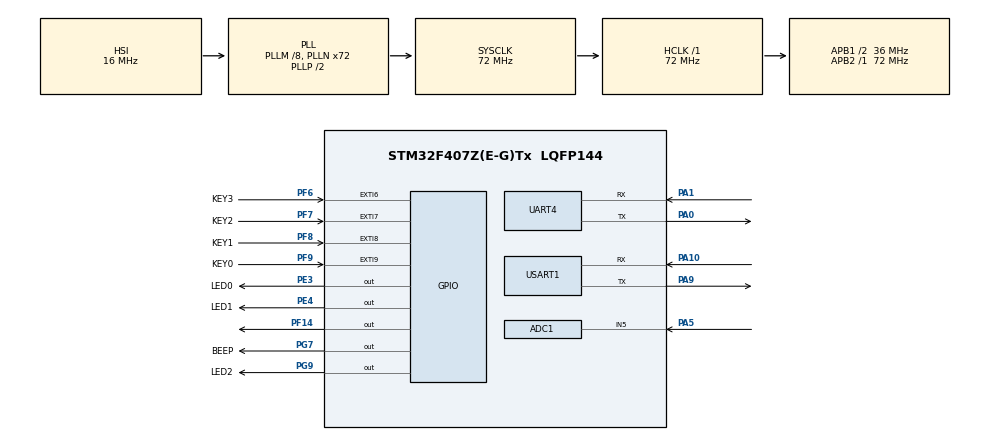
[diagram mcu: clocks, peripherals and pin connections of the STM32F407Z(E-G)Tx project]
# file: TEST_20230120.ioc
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ADC1.Channel-0\#ChannelRegularConversion=ADC_CHANNEL_5
ADC1.NbrOfConversionFlag=1
ADC1.Rank-0\#ChannelRegularConversion=1
ADC1.SamplingTime-0\#ChannelRegularConversion=ADC_SAMPLETIME_3CYCLES
ADC1.master=1
FREERTOS.Tasks01=myTask01,0,128,StartTask01,Default,NULL,Dynamic,NULL,NULL;myTask02,-3,128,StartTask02,Default,NULL,Dynamic,NULL,NULL;myTask03,-3,128,StartTask03,Default,NULL,Dynamic,NULL,NULL;myTask04,-3,128,StartTask04,Default,NULL,Dynamic,NULL,NULL;myTask05,-3,128,StartTask05,Default,NULL,Dynamic,NULL,NULL
Mcu.Family=STM32F4
Mcu.Name=STM32F407Z(E-G)Tx
Mcu.Package=LQFP144
NVIC.EXTI9_5_IRQn=true\:5\:0\:false\:false\:true\:true\:true\:true\:true
NVIC.PriorityGroup=NVIC_PRIORITYGROUP_4
NVIC.UART4_IRQn=true\:5\:0\:false\:false\:true\:true\:true\:true\:true
PA0-WKUP.Mode=Asynchronous
PA0-WKUP.Signal=UART4_TX
PA1.Mode=Asynchronous
PA1.Signal=UART4_RX
PA10.Mode=Asynchronous
PA10.Signal=USART1_RX
PA5.Signal=ADCx_IN5
PA9.Mode=Asynchronous
PA9.Signal=USART1_TX
PE3.GPIO_Label=LED0
PE3.GPIO_PuPd=GPIO_PULLUP
PE3.PinState=GPIO_PIN_SET
PE3.Signal=GPIO_Output
PE4.GPIO_Label=LED1
PE4.GPIO_PuPd=GPIO_PULLUP
PE4.PinState=GPIO_PIN_SET
PE4.Signal=GPIO_Output
PF14.GPIO_PuPd=GPIO_PULLUP
PF14.PinState=GPIO_PIN_SET
PF14.Signal=GPIO_Output
PF6.GPIO_Label=KEY3
PF6.GPIO_PuPd=GPIO_PULLUP
PF6.Signal=GPXTI6
PF7.GPIO_Label=KEY2
PF7.GPIO_PuPd=GPIO_PULLUP
PF7.Signal=GPXTI7
PF8.GPIO_Label=KEY1
PF8.GPIO_PuPd=GPIO_PULLUP
PF8.Signal=GPXTI8
PF9.GPIO_Label=KEY0
PF9.GPIO_PuPd=GPIO_PULLUP
PF9.Signal=GPXTI9
PG7.GPIO_Label=BEEP
PG7.GPIO_PuPd=GPIO_PULLUP
PG7.PinState=GPIO_PIN_RESET
PG7.Signal=GPIO_Output
PG9.GPIO_Label=LED2
PG9.GPIO_PuPd=GPIO_PULLUP
PG9.PinState=GPIO_PIN_SET
PG9.Signal=GPIO_Output
PH0-OSC_IN.Mode=HSE-External-Oscillator
PH0-OSC_IN.Signal=RCC_OSC_IN
PH1-OSC_OUT.Mode=HSE-External-Oscillator
PH1-OSC_OUT.Signal=RCC_OSC_OUT
ProjectManager.HeapSize=0x200
ProjectManager.StackSize=0x400
ProjectManager.TargetToolchain=MDK-ARM V5.32
RCC.48MHZClocksFreq_Value=36000000
RCC.AHBFreq_Value=72000000
RCC.APB1CLKDivider=RCC_HCLK_DIV2
RCC.APB1Freq_Value=36000000
RCC.APB1TimFreq_Value=72000000
RCC.APB2Freq_Value=72000000
RCC.APB2TimFreq_Value=72000000
RCC.CortexFreq_Value=72000000
RCC.HCLKFreq_Value=72000000
RCC.HSE_VALUE=8000000
RCC.HSI_VALUE=16000000
RCC.LSE_VALUE=32768
RCC.PLLM=8
RCC.PLLN=72
RCC.SYSCLKFreq_VALUE=72000000
RCC.SYSCLKSource=RCC_SYSCLKSOURCE_PLLCLK
RCC.VCOOutputFreq_Value=144000000
SH.ADCx_IN5.0=ADC1_IN5,IN5
UART4.VirtualMode=Asynchronous
USART1.VirtualMode=VM_ASYNC
VP_FREERTOS_VS_CMSIS_V1.Mode=CMSIS_V1
VP_TIM6_VS_ClockSourceINT.Mode=Enable_Timer
board=custom

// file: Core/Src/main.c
/* USER CODE BEGIN Header */
/**
  ******************************************************************************
  * @file           : main.c
  * @brief          : Main program body
  ******************************************************************************
  * @attention
  *
  * Copyright (c) 2023 STMicroelectronics.
  * All rights reserved.
  *
  * This software is licensed under terms that can be found in the LICENSE file
  * in the root directory of this software component.
  * If no LICENSE file comes with this software, it is provided AS-IS.
  *
  ******************************************************************************
  */
/* USER CODE END Header */
#include "main.h"
#include "cmsis_os.h"
#include "adc.h"
#include "tim.h"
#include "usart.h"
#include "gpio.h"

/* USER CODE BEGIN Includes */
#include "ldh_headfile.h"
/* USER CODE END Includes */

void SystemClock_Config(void);
void MX_FREERTOS_Init(void);

int main(void)
{

  /* MCU Configuration--------------------------------------------------------*/

  /* Reset of all peripherals, Initializes the Flash interface and the Systick. */
  HAL_Init();

  /* Configure the system clock */
  SystemClock_Config();

  /* Initialize all configured peripherals */
  MX_GPIO_Init();
  MX_USART1_UART_Init();
  MX_ADC1_Init();
  MX_TIM6_Init();
  MX_UART4_Init();
  /* USER CODE BEGIN 2 */
  // while(wifi_config_client());
  /* USER CODE END 2 */

  /* Call init function for freertos objects (in freertos.c) */
  MX_FREERTOS_Init();

  /* Start scheduler */
  osKernelStart();

  /* We should never get here as control is now taken by the scheduler */
  /* Infinite loop */
  while (1)
  {

  }
}

void SystemClock_Config(void)
{
  RCC_OscInitTypeDef RCC_OscInitStruct = {0};
  RCC_ClkInitTypeDef RCC_ClkInitStruct = {0};

  /** Configure the main internal regulator output voltage
  */
  __HAL_RCC_PWR_CLK_ENABLE();
  __HAL_PWR_VOLTAGESCALING_CONFIG(PWR_REGULATOR_VOLTAGE_SCALE1);

  /** Initializes the RCC Oscillators according to the specified parameters
  * in the RCC_OscInitTypeDef structure.
  */
  RCC_OscInitStruct.OscillatorType = RCC_OSCILLATORTYPE_HSI;
  RCC_OscInitStruct.HSIState = RCC_HSI_ON;
  RCC_OscInitStruct.HSICalibrationValue = RCC_HSICALIBRATION_DEFAULT;
  RCC_OscInitStruct.PLL.PLLState = RCC_PLL_ON;
  RCC_OscInitStruct.PLL.PLLSource = RCC_PLLSOURCE_HSI;
  RCC_OscInitStruct.PLL.PLLM = 8;
  RCC_OscInitStruct.PLL.PLLN = 72;
  RCC_OscInitStruct.PLL.PLLP = RCC_PLLP_DIV2;
  RCC_OscInitStruct.PLL.PLLQ = 4;
  if (HAL_RCC_OscConfig(&RCC_OscInitStruct) != HAL_OK)
  {
    Error_Handler();
  }

  /** Initializes the CPU, AHB and APB buses clocks
  */
  RCC_ClkInitStruct.ClockType = RCC_CLOCKTYPE_HCLK|RCC_CLOCKTYPE_SYSCLK
                              |RCC_CLOCKTYPE_PCLK1|RCC_CLOCKTYPE_PCLK2;
  RCC_ClkInitStruct.SYSCLKSource = RCC_SYSCLKSOURCE_PLLCLK;
  RCC_ClkInitStruct.AHBCLKDivider = RCC_SYSCLK_DIV1;
  RCC_ClkInitStruct.APB1CLKDivider = RCC_HCLK_DIV2;
  RCC_ClkInitStruct.APB2CLKDivider = RCC_HCLK_DIV1;

  if (HAL_RCC_ClockConfig(&RCC_ClkInitStruct, FLASH_LATENCY_2) != HAL_OK)
  {
    Error_Handler();
  }
}

void Error_Handler(void)
{
  __disable_irq();
  while (1)
  {
  }
}

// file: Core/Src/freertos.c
/* USER CODE BEGIN Header */
/**
  ******************************************************************************
  * File Name          : freertos.c
  * Description        : Code for freertos applications
  ******************************************************************************
  * @attention
  *
  * Copyright (c) 2023 STMicroelectronics.
  * All rights reserved.
  *
  * This software is licensed under terms that can be found in the LICENSE file
  * in the root directory of this software component.
  * If no LICENSE file comes with this software, it is provided AS-IS.
  *
  ******************************************************************************
  */
/* USER CODE END Header */

#include "FreeRTOS.h"
#include "task.h"
#include "main.h"
#include "cmsis_os.h"

/* USER CODE BEGIN Includes */
#include "ldh_headfile.h"
#include "gpio.h"
/* USER CODE END Includes */

/* USER CODE BEGIN PTD */
#define LED0_ON() 	HAL_GPIO_WritePin(LED0_GPIO_Port, LED0_Pin, GPIO_PIN_RESET)
#define LED0_OFF() 	HAL_GPIO_WritePin(LED0_GPIO_Port, LED0_Pin, GPIO_PIN_SET)
/* USER CODE END PTD */

osThreadId myTask01Handle;
osThreadId myTask02Handle;
osThreadId myTask03Handle;
osThreadId myTask04Handle;
osThreadId myTask05Handle;

void StartTask01(void const * argument);
void StartTask02(void const * argument);
void StartTask03(void const * argument);
void StartTask04(void const * argument);
void StartTask05(void const * argument);

void MX_FREERTOS_Init(void); /* (MISRA C 2004 rule 8.1) */

/* GetIdleTaskMemory prototype (linked to static allocation support) */
void vApplicationGetIdleTaskMemory( StaticTask_t **ppxIdleTaskTCBBuffer, StackType_t **ppxIdleTaskStackBuffer, uint32_t *pulIdleTaskStackSize );

/* USER CODE BEGIN GET_IDLE_TASK_MEMORY */
static StaticTask_t xIdleTaskTCBBuffer;
static StackType_t xIdleStack[configMINIMAL_STACK_SIZE];

void vApplicationGetIdleTaskMemory( StaticTask_t **ppxIdleTaskTCBBuffer, StackType_t **ppxIdleTaskStackBuffer, uint32_t *pulIdleTaskStackSize )
{
  *ppxIdleTaskTCBBuffer = &xIdleTaskTCBBuffer;
  *ppxIdleTaskStackBuffer = &xIdleStack[0];
  *pulIdleTaskStackSize = configMINIMAL_STACK_SIZE;
  /* place for user code */
}
/* USER CODE END GET_IDLE_TASK_MEMORY */

void MX_FREERTOS_Init(void) {

  /* Create the thread(s) */
  /* definition and creation of myTask01 */
  osThreadDef(myTask01, StartTask01, osPriorityNormal, 0, 128);
  myTask01Handle = osThreadCreate(osThread(myTask01), NULL);

  /* definition and creation of myTask02 */
  osThreadDef(myTask02, StartTask02, osPriorityIdle, 0, 128);
  myTask02Handle = osThreadCreate(osThread(myTask02), NULL);

  /* definition and creation of myTask03 */
  osThreadDef(myTask03, StartTask03, osPriorityIdle, 0, 128);
  myTask03Handle = osThreadCreate(osThread(myTask03), NULL);

  /* definition and creation of myTask04 */
  osThreadDef(myTask04, StartTask04, osPriorityIdle, 0, 128);
  myTask04Handle = osThreadCreate(osThread(myTask04), NULL);

  /* definition and creation of myTask05 */
  osThreadDef(myTask05, StartTask05, osPriorityIdle, 0, 128);
  myTask05Handle = osThreadCreate(osThread(myTask05), NULL);

}

void StartTask01(void const * argument)
{
  /* USER CODE BEGIN StartTask01 */
	DHT11_Init();
  /* Infinite loop */
  for(;;)
  {
	  ldh_DHT11_Read(&ldh_temp,&ldh_hum);
	  osDelay(500);
  }
  /* USER CODE END StartTask01 */
}

void StartTask02(void const * argument)
{
  /* USER CODE BEGIN StartTask02 */
  /* Infinite loop */
  for(;;)
  {
//	ldh_distance = ldh_UltrasonicWave_Measure();
//	printf("超声波测距为：%.2f\n",ldh_distance);
	if(ldh_key == 1)
	{
		printf("正在采集！\n");
		printf("当前空气温度为：%.2lf, 空气湿度为：%.2lf\n",ldh_temp, ldh_hum);
		printf("当前光照强度为：%d\n",ldh_light);
		printf("%.1f %.1f %d\n",ldh_temp,ldh_hum,ldh_light);
	}
	else if(ldh_key == 2)
	{
		printf("停止采集！\n");
	}
	else if(ldh_key == 0 || ldh_key == 3)
		printf("按键错误！\n");
    osDelay(200);
  }
  /* USER CODE END StartTask02 */
}

void StartTask03(void const * argument)
{
  /* USER CODE BEGIN StartTask03 */
  /* Infinite loop */
  for(;;)
  {
	  ldh_light = get_light();

      osDelay(200);
  }
  /* USER CODE END StartTask03 */
}

void StartTask04(void const * argument)
{
  /* USER CODE BEGIN StartTask04 */
	int i=0;
	char hum_ch[10];
	char temp_ch[10];
	char dist_ch[10];
	char light_ch[10];
  /* Infinite loop */
  for(;;)
  {
//	    sprintf(hum_ch,  "%f",ldh_hum);
//	    sprintf(temp_ch, "%f",ldh_temp);
//	    sprintf(dist_ch, "%f",ldh_distance);
//	    sprintf(light_ch,"%d",ldh_light);
//	    open_display();
//		if(i==0)
//		{
//			set_number_ch(0,hum_ch[0],hum_ch[1]);
//			i++;
//		}
//		else if(i==1)
//		{
//			set_number_ch(1,temp_ch[0],temp_ch[1]);
//			i++;
//		}
//		else if(i==2)
//		{
//			set_number_ch(2,dist_ch[0],dist_ch[1]);
//			i++;
//		}
//		else if(i==3)
//		{
//			set_number_ch(3,light_ch[0],light_ch[1]);
//			i=0;
//		}
	  osDelay(1500);
  }
  /* USER CODE END StartTask04 */
}

void StartTask05(void const * argument)
{
  /* USER CODE BEGIN StartTask05 */

  /* Infinite loop */
  for(;;)
  {
	  // sprintf(ldh_message,"temp=%.2f,hum=%.2f,dist=%.2f,light=%d",ldh_temp,ldh_hum,ldh_distance,ldh_light);
	  // printf("%s\r\n",ldh_message);
	  sprintf(ldh_message,"%.2f,%.2f,%.2f,%d",ldh_temp,ldh_hum,ldh_distance,ldh_light);
	  wifi_sendMessage(ldh_message);
	  osDelay(2500);
  }
  /* USER CODE END StartTask05 */
}
